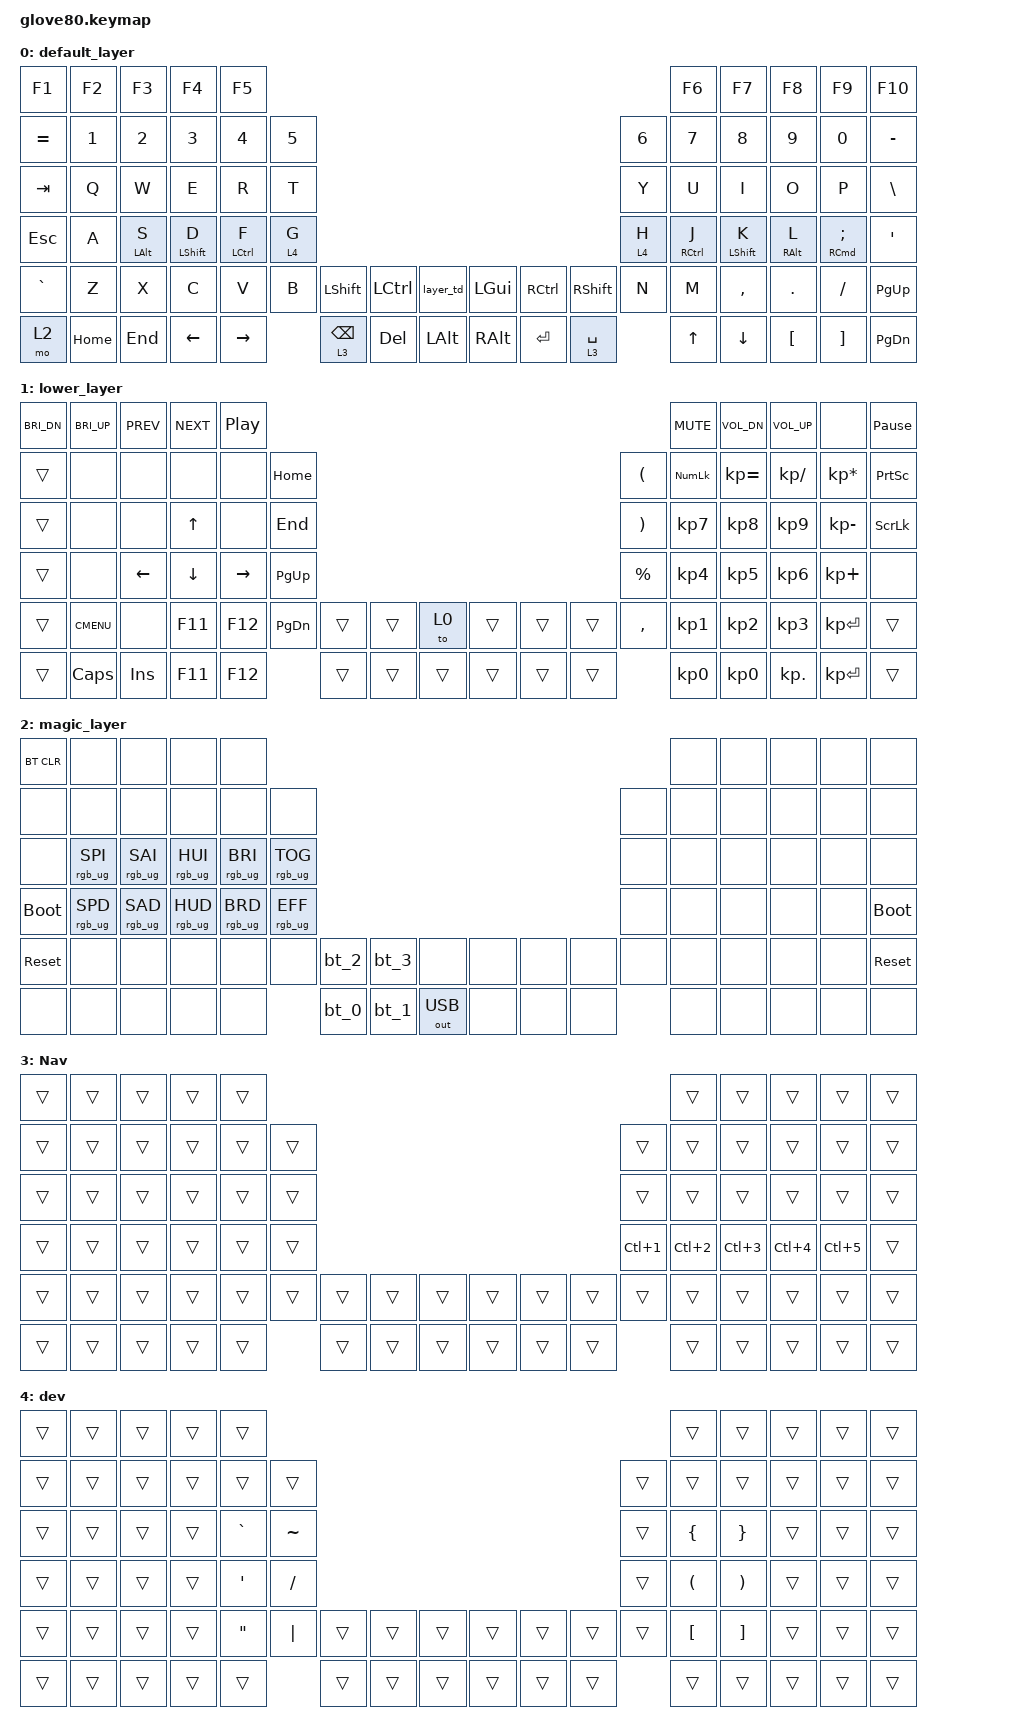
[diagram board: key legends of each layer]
/*
 * Copyright (c) 2020 The ZMK Contributors
 *
 * SPDX-License-Identifier: MIT
 */

#include <behaviors.dtsi>
#include <dt-bindings/zmk/bt.h>
#include <dt-bindings/zmk/keys.h>
#include <dt-bindings/zmk/outputs.h>
#include <dt-bindings/zmk/rgb.h>

// layers

#define DEFAULT 0
#define LOWER 1
#define MAGIC 2

/ {
    behaviors {
        // For the "layer" key, it'd nice to be able to use it as either a shift or a toggle.
        // Configure it as a tap dance, so the first tap (or hold) is a &mo and the second tap is a &to

        layer_td: tap_dance_0 {
            compatible = "zmk,behavior-tap-dance";
            #binding-cells = <0>;
            tapping-term-ms = <200>;
            bindings = <&mo 1>, <&to 1>;
        };

        hmr: hmr {
            compatible = "zmk,behavior-hold-tap";
            label = "HMR";
            bindings = <&kp>, <&kp>;

            #binding-cells = <2>;
            tapping-term-ms = <280>;
            quick-tap-ms = <175>;
            hold-trigger-key-positions = <39 38 37 36 35 34 74 73 72 0 1 2 3 4 10 11 12 13 14 15 22 23 24 25 26 27 34 35 36 37 38 39 46 47 48 49 50 51 52 53 54 64 65 66 67 68 69 70 71>;
            hold-trigger-on-release;
            require-prior-idle-ms = <150>;
            flavor = "balanced";
        };

        hml: hml {
            compatible = "zmk,behavior-hold-tap";
            label = "HML";
            bindings = <&kp>, <&kp>;

            #binding-cells = <2>;
            tapping-term-ms = <280>;
            quick-tap-ms = <175>;
            hold-trigger-key-positions = <41 40 41 42 43 44 45 69 70 71 5 6 7 8 9 16 17 18 19 20 21 28 29 30 31 32 33 40 41 42 43 44 45 55 56 57 58 59 60 61 62 63 72 73 74 75 76 77 78 79>;
            hold-trigger-on-release;
            require-prior-idle-ms = <150>;
            flavor = "balanced";
        };

        layer_nav: layer_nav {
            compatible = "zmk,behavior-tap-dance";
            #binding-cells = <0>;
            tapping-term-ms = <200>;
            bindings = <&mo 1>, <&to 3>;

            label = "LAYER_NAV";
        };
    };

    macros {
        bt_0: bt_profile_macro_0 {
            compatible = "zmk,behavior-macro";
            #binding-cells = <0>;
            bindings = <&out OUT_BLE &bt BT_SEL 0>;
        };

        bt_1: bt_profile_macro_1 {
            compatible = "zmk,behavior-macro";
            #binding-cells = <0>;
            bindings = <&out OUT_BLE &bt BT_SEL 1>;
        };

        bt_2: bt_profile_macro_2 {
            compatible = "zmk,behavior-macro";
            #binding-cells = <0>;
            bindings = <&out OUT_BLE &bt BT_SEL 2>;
        };

        bt_3: bt_profile_macro_3 {
            compatible = "zmk,behavior-macro";
            #binding-cells = <0>;
            bindings = <&out OUT_BLE &bt BT_SEL 3>;
        };
    };

    keymap {
        compatible = "zmk,keymap";

        default_layer {
            // ---------------------------------------------------------------------------------------------------------------------------------
            // |  F1   |  F2 |  F3 |  F4  |  F5  |                                                               |  F6   |  F7   |  F8  |   F9  |  F10 |
            // |  =    |  1  |  2  |  3   |  4   |  5   |                                                 |  6   |   7   |   8   |  9   |   0   |   -  |
            // |  TAB  |  Q  |  W  |  E   |  R   |  T   |                                                 |  Y   |   U   |   I   |  O   |   P   |   \  |
            // |  ESC  |  A  |  S  |  D   |  F   |  G   |                                                 |  H   |   J   |   K   |  L   |   ;   |   '  |
            // |   `   |  Z  |  X  |  C   |  V   |  B   | LSHFT | LCTRL | LOWER | | LGUI  | RCTRL | RSHFT |  N   |   M   |   ,   |  .   |   /   | PGUP |
            // | MAGIC | HOME| END | LEFT | RIGHT|      | BSPC  | DEL   | LALT  | | RALT  | RET   | SPACE |      |  UP   | DOWN  |  [   |   ]   | PGDN |

            bindings = <
&kp F1     &kp F2    &kp F3           &kp F4         &kp F5                                                                                                     &kp F6        &kp F7        &kp F8            &kp F9          &kp F10
&kp EQUAL  &kp N1    &kp N2           &kp N3         &kp N4        &kp N5                                                                              &kp N6   &kp N7        &kp N8        &kp N9            &kp N0          &kp MINUS
&kp TAB    &kp Q     &kp W            &kp E          &kp R         &kp T                                                                               &kp Y    &kp U         &kp I         &kp O             &kp P           &kp BSLH
&kp ESC    &kp A     &hml LEFT_ALT S  &hml LSHIFT D  &hml LCTRL F  &lt 4 G                                                                             &lt 4 H  &hmr RCTRL J  &hmr LSHFT K  &hmr RIGHT_ALT L  &hmr RCMD SEMI  &kp SQT
&kp GRAVE  &kp Z     &kp X            &kp C          &kp V         &kp B    &kp LSHFT        &kp LCTRL  &layer_td    &kp LGUI  &kp RCTRL  &kp RSHFT    &kp N    &kp M         &kp COMMA     &kp DOT           &kp FSLH        &kp PG_UP
&mo 2      &kp HOME  &kp END          &kp LEFT       &kp RIGHT              &lt 3 BACKSPACE  &kp DEL    &kp LALT     &kp RALT  &kp RET    &lt 3 SPACE           &kp UP        &kp DOWN      &kp LBKT          &kp RBKT        &kp PG_DN
            >;
        };

        lower_layer {
            bindings = <
&kp C_BRI_DN  &kp C_BRI_UP  &kp C_PREV  &kp C_NEXT  &kp C_PP                                                                           &kp C_MUTE  &kp C_VOL_DN  &kp C_VOL_UP   &none            &kp PAUSE_BREAK
&trans        &none         &none       &none       &none      &kp HOME                                                     &kp LPAR   &kp KP_NUM  &kp KP_EQUAL  &kp KP_DIVIDE  &kp KP_MULTIPLY  &kp PSCRN
&trans        &none         &none       &kp UP      &none      &kp END                                                      &kp RPAR   &kp KP_N7   &kp KP_N8     &kp KP_N9      &kp KP_MINUS     &kp SLCK
&trans        &none         &kp LEFT    &kp DOWN    &kp RIGHT  &kp PG_UP                                                    &kp PRCNT  &kp KP_N4   &kp KP_N5     &kp KP_N6      &kp KP_PLUS      &none
&trans        &kp K_CMENU   &none       &kp F11     &kp F12    &kp PG_DN  &trans  &trans  &to 0     &trans  &trans  &trans  &kp COMMA  &kp KP_N1   &kp KP_N2     &kp KP_N3      &kp KP_ENTER     &trans
&trans        &kp CAPS      &kp INS     &kp F11     &kp F12               &trans  &trans  &trans    &trans  &trans  &trans             &kp KP_N0   &kp KP_N0     &kp KP_DOT     &kp KP_ENTER     &trans
            >;
        };

        magic_layer {
            bindings = <
&bt BT_CLR   &none            &none            &none            &none                                                                                       &none  &none  &none  &none  &none
&none        &none            &none            &none            &none            &none                                                               &none  &none  &none  &none  &none  &none
&none        &rgb_ug RGB_SPI  &rgb_ug RGB_SAI  &rgb_ug RGB_HUI  &rgb_ug RGB_BRI  &rgb_ug RGB_TOG                                                     &none  &none  &none  &none  &none  &none
&bootloader  &rgb_ug RGB_SPD  &rgb_ug RGB_SAD  &rgb_ug RGB_HUD  &rgb_ug RGB_BRD  &rgb_ug RGB_EFF                                                     &none  &none  &none  &none  &none  &bootloader
&sys_reset   &none            &none            &none            &none            &none            &bt_2  &bt_3  &none           &none  &none  &none  &none  &none  &none  &none  &none  &sys_reset
&none        &none            &none            &none            &none                             &bt_0  &bt_1  &out OUT_USB    &none  &none  &none         &none  &none  &none  &none  &none
            >;
        };

        NAV {
            bindings = <
&trans  &trans  &trans  &trans  &trans                                                                              &trans            &trans            &trans            &trans            &trans
&trans  &trans  &trans  &trans  &trans  &trans                                                    &trans            &trans            &trans            &trans            &trans            &trans
&trans  &trans  &trans  &trans  &trans  &trans                                                    &trans            &trans            &trans            &trans            &trans            &trans
&trans  &trans  &trans  &trans  &trans  &trans                                                    &kp LC(NUMBER_1)  &kp LC(NUMBER_2)  &kp LC(NUMBER_3)  &kp LC(NUMBER_4)  &kp LC(NUMBER_5)  &trans
&trans  &trans  &trans  &trans  &trans  &trans  &trans  &trans  &trans    &trans  &trans  &trans  &trans            &trans            &trans            &trans            &trans            &trans
&trans  &trans  &trans  &trans  &trans          &trans  &trans  &trans    &trans  &trans  &trans                    &trans            &trans            &trans            &trans            &trans
            >;

            label = "Nav";
        };

        dev {
            bindings = <
&trans  &trans  &trans  &trans  &trans                                                                                  &trans                &trans             &trans  &trans  &trans
&trans  &trans  &trans  &trans  &trans             &trans                                                       &trans  &trans                &trans             &trans  &trans  &trans
&trans  &trans  &trans  &trans  &kp GRAVE          &kp TILDE                                                    &trans  &kp LEFT_BRACE        &kp RBRC           &trans  &trans  &trans
&trans  &trans  &trans  &trans  &kp SINGLE_QUOTE   &kp SLASH                                                    &trans  &kp LEFT_PARENTHESIS  &kp RPAR           &trans  &trans  &trans
&trans  &trans  &trans  &trans  &kp DOUBLE_QUOTES  &kp PIPE   &trans  &trans  &trans    &trans  &trans  &trans  &trans  &kp LEFT_BRACKET      &kp RIGHT_BRACKET  &trans  &trans  &trans
&trans  &trans  &trans  &trans  &trans                        &trans  &trans  &trans    &trans  &trans  &trans          &trans                &trans             &trans  &trans  &trans
            >;
        };
    };
};
